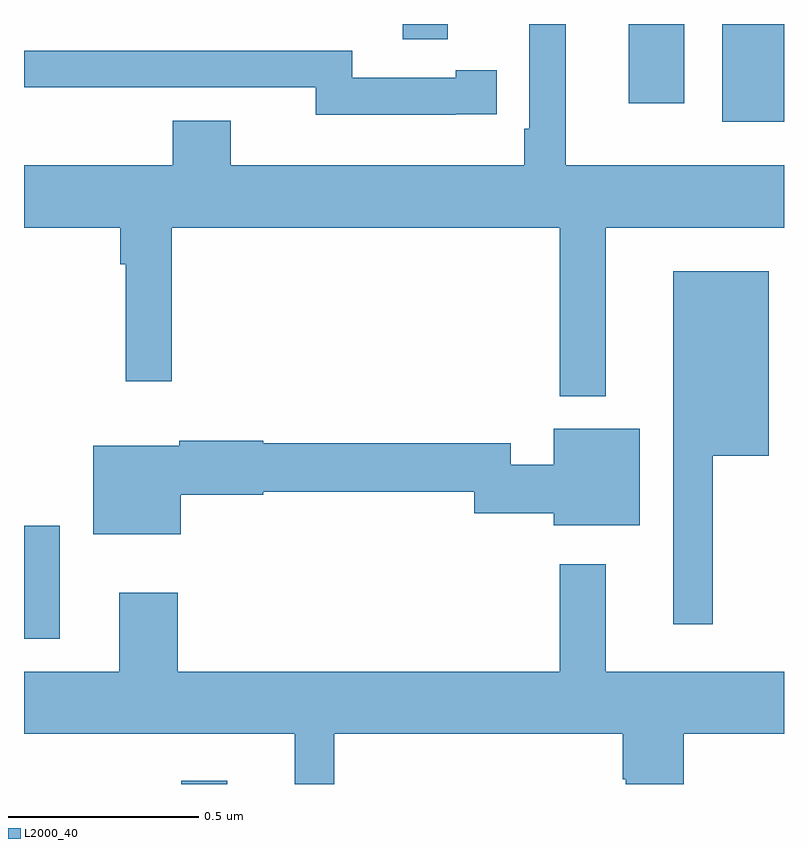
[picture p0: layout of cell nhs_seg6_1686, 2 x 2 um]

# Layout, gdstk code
import gdstk
lib = gdstk.Library(unit=1e-6, precision=1e-09)
def R(c, l, rs):  # rectangles x0, y0, x1, y1
    for r in rs: c.add(gdstk.rectangle(r[:2], r[2:], *l))
def P(c, l, *ps):  # polygons
    for p in ps: c.add(gdstk.Polygon(p, *l))
L2000_40 = (2000, 40)

nhs_seg6_1686 = lib.new_cell('nhs_seg6_1686')
R(nhs_seg6_1686, L2000_40, [(132.414,984.5,132.535,984.508), (132,984.882,132.094,985.179), (133.838,986.243,134,986.5), (133.592,986.292,133.738,986.5), (132.997,986.46,133.115,986.5)])
P(nhs_seg6_1686, L2000_40, [(133.531,985.964),(134,985.964),(134,986.128),(133.426,986.128),(133.426,986.5),(133.329,986.5),(133.329,986.224),(133.316,986.224),(133.316,986.128),(132.544,986.128),(132.544,986.245),(132.392,986.245),(132.392,986.128),(132,986.128),(132,985.964),(132.253,985.964),(132.253,985.868),(132.268,985.868),(132.268,985.56),(132.389,985.56),(132.389,985.964),(133.41,985.964),(133.41,985.52),(133.531,985.52)],
  [(133.136,986.262),(133.244,986.262),(133.244,986.378),(133.136,986.378),(133.136,986.358),(132.864,986.358),(132.864,986.43),(132,986.43),(132,986.333),(132.308,986.333),(132.308,986.334),(132.768,986.334),(132.768,986.261),(133.136,986.261)],
  [(133.813,985.364),(133.96,985.364),(133.96,985.849),(133.709,985.849),(133.709,984.921),(133.813,984.921)],
  [(132.412,985.261),(132.63,985.261),(132.63,985.269),(133.185,985.269),(133.185,985.212),(133.394,985.212),(133.394,985.181),(133.621,985.181),(133.621,985.435),(133.394,985.435),(133.394,985.34),(133.281,985.34),(133.281,985.397),(132.63,985.397),(132.63,985.403),(132.408,985.403),(132.408,985.39),(132.182,985.39),(132.182,985.157),(132.412,985.157)],
  [(132.817,984.632),(133.576,984.632),(133.576,984.512),(133.583,984.512),(133.583,984.5),(133.736,984.5),(133.736,984.632),(134,984.632),(134,984.796),(133.531,984.796),(133.531,985.078),(133.41,985.078),(133.41,984.796),(132.404,984.796),(132.404,985.003),(132.251,985.003),(132.251,984.796),(132,984.796),(132,984.632),(132.713,984.632),(132.713,984.5),(132.817,984.5)])

lib.write_gds('nhs_seg6_1686.gds')
